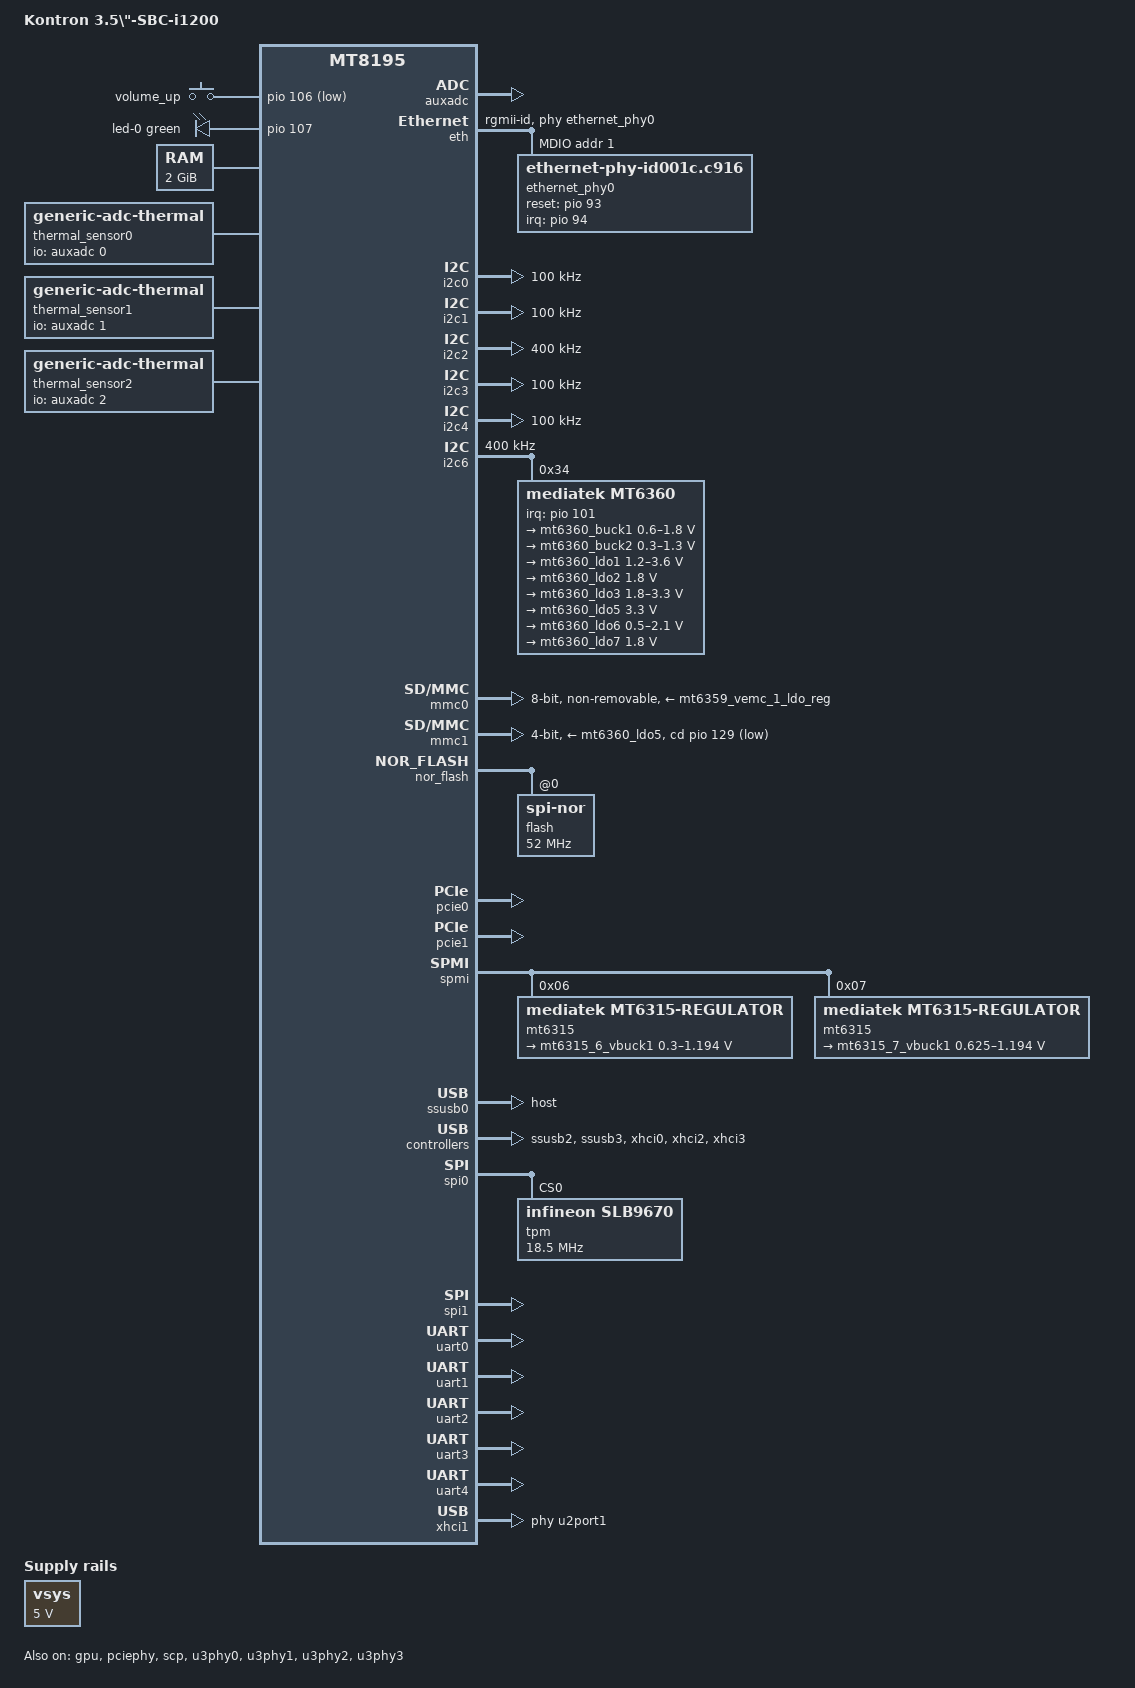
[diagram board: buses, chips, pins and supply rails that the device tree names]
// SPDX-License-Identifier: (GPL-2.0 OR MIT)
/*
 * Copyright (C) 2024 Kontron Europe GmbH
 *
 * Author: Michael Walle <mwalle@kernel.org>
 */
/dts-v1/;

#include "mt8195.dtsi"
#include "mt6359.dtsi"

#include <dt-bindings/gpio/gpio.h>
#include <dt-bindings/input/input.h>
#include <dt-bindings/leds/common.h>
#include <dt-bindings/pinctrl/mt8195-pinfunc.h>
#include <dt-bindings/regulator/mediatek,mt6360-regulator.h>
#include <dt-bindings/spmi/spmi.h>

/ {
	model = "Kontron 3.5\"-SBC-i1200";
	compatible = "kontron,3-5-sbc-i1200", "mediatek,mt8395", "mediatek,mt8195";

	aliases {
		mmc0 = &mmc0;
		mmc1 = &mmc1;
		serial0 = &uart1;
		serial1 = &uart2;
		serial2 = &uart3;
		serial3 = &uart4;
		serial4 = &uart0;
	};

	chosen {
		stdout-path = "serial0:115200n8";
	};

	firmware {
		optee {
			compatible = "linaro,optee-tz";
			method = "smc";
		};
	};

	gpio-keys {
		compatible = "gpio-keys";
		pinctrl-names = "default";
		pinctrl-0 = <&gpio_keys_pins>;

		key-0 {
			gpios = <&pio 106 GPIO_ACTIVE_LOW>;
			label = "volume_up";
			linux,code = <KEY_VOLUMEUP>;
			wakeup-source;
			debounce-interval = <15>;
		};
	};

	leds {
		compatible = "gpio-leds";
		pinctrl-names = "default";
		pinctrl-0 = <&led_pins>;

		led-0 {
			gpios = <&pio 107 GPIO_ACTIVE_HIGH>;
			default-state = "keep";
			function = LED_FUNCTION_POWER;
			color = <LED_COLOR_ID_GREEN>;
		};
	};

	memory@40000000 {
		device_type = "memory";
		reg = <0 0x40000000 0x0 0x80000000>;
	};

	vsys: regulator-vsys {
		compatible = "regulator-fixed";
		regulator-name = "vsys";
		regulator-always-on;
		regulator-boot-on;
		regulator-min-microvolt = <5000000>;
		regulator-max-microvolt = <5000000>;
	};

	reserved-memory {
		#address-cells = <2>;
		#size-cells = <2>;
		ranges;

		/*
		 * 12 MiB reserved for OP-TEE (BL32)
		 * +-----------------------+ 0x43e0_0000
		 * |      SHMEM 2MiB       |
		 * +-----------------------+ 0x43c0_0000
		 * |        | TA_RAM  8MiB |
		 * + TZDRAM +--------------+ 0x4340_0000
		 * |        | TEE_RAM 2MiB |
		 * +-----------------------+ 0x4320_0000
		 */
		optee_reserved: optee@43200000 {
			no-map;
			reg = <0 0x43200000 0 0x00c00000>;
		};

		scp_mem: memory@50000000 {
			compatible = "shared-dma-pool";
			reg = <0 0x50000000 0 0x2900000>;
			no-map;
		};

		vpu_mem: memory@53000000 {
			compatible = "shared-dma-pool";
			reg = <0 0x53000000 0 0x1400000>; /* 20 MB */
		};

		/* 2 MiB reserved for ARM Trusted Firmware (BL31) */
		bl31_secmon_mem: memory@54600000 {
			no-map;
			reg = <0 0x54600000 0x0 0x200000>;
		};

		snd_dma_mem: memory@60000000 {
			compatible = "shared-dma-pool";
			reg = <0 0x60000000 0 0x1100000>;
			no-map;
		};

		apu_mem: memory@62000000 {
			compatible = "shared-dma-pool";
			reg = <0 0x62000000 0 0x1400000>; /* 20 MB */
		};
	};

	thermal_sensor0: thermal-sensor-0 {
		compatible = "generic-adc-thermal";
		#thermal-sensor-cells = <0>;
		io-channels = <&auxadc 0>;
		io-channel-names = "sensor-channel";
		temperature-lookup-table = <(-25000) 1474
					    (-20000) 1374
					    (-15000) 1260
					    (-10000) 1134
					     (-5000) 1004
						   0 874
						5000 750
					       10000 635
					       15000 532
					       20000 443
					       25000 367
					       30000 303
					       35000 250
					       40000 206
					       45000 170
					       50000 141
					       55000 117
					       60000 97
					       65000 81
					       70000 68
					       75000 57
					       80000 48
					       85000 41
					       90000 35
					       95000 30
					      100000 25
					      105000 22
					      110000 19
					      115000 16
					      120000 14
					      125000 12
					      130000 10
					      135000 9
					      140000 8
					      145000 7
					      150000 6>;
	};

	thermal_sensor1: thermal-sensor-1 {
		compatible = "generic-adc-thermal";
		#thermal-sensor-cells = <0>;
		io-channels = <&auxadc 1>;
		io-channel-names = "sensor-channel";
		temperature-lookup-table = <(-25000) 1474
					    (-20000) 1374
					    (-15000) 1260
					    (-10000) 1134
					     (-5000) 1004
						   0 874
						5000 750
					       10000 635
					       15000 532
					       20000 443
					       25000 367
					       30000 303
					       35000 250
					       40000 206
					       45000 170
					       50000 141
					       55000 117
					       60000 97
					       65000 81
					       70000 68
					       75000 57
					       80000 48
					       85000 41
					       90000 35
					       95000 30
					      100000 25
					      105000 22
					      110000 19
					      115000 16
					      120000 14
					      125000 12
					      130000 10
					      135000 9
					      140000 8
					      145000 7
					      150000 6>;
	};

	thermal_sensor2: thermal-sensor-2 {
		compatible = "generic-adc-thermal";
		#thermal-sensor-cells = <0>;
		io-channels = <&auxadc 2>;
		io-channel-names = "sensor-channel";
		temperature-lookup-table = <(-25000) 1474
					    (-20000) 1374
					    (-15000) 1260
					    (-10000) 1134
					     (-5000) 1004
						   0 874
						5000 750
					       10000 635
					       15000 532
					       20000 443
					       25000 367
					       30000 303
					       35000 250
					       40000 206
					       45000 170
					       50000 141
					       55000 117
					       60000 97
					       65000 81
					       70000 68
					       75000 57
					       80000 48
					       85000 41
					       90000 35
					       95000 30
					      100000 25
					      105000 22
					      110000 19
					      115000 16
					      120000 14
					      125000 12
					      130000 10
					      135000 9
					      140000 8
					      145000 7
					      150000 6>;
	};
};

&auxadc {
	status = "okay";
};

&eth {
	phy-mode ="rgmii-id";
	phy-handle = <&ethernet_phy0>;
	pinctrl-names = "default", "sleep";
	pinctrl-0 = <&eth_default_pins>;
	pinctrl-1 = <&eth_sleep_pins>;
	mediatek,mac-wol;
	status = "okay";

	mdio {
		ethernet_phy0: ethernet-phy@1 {
			compatible = "ethernet-phy-id001c.c916";
			reg = <0x1>;
			interrupts-extended = <&pio 94 IRQ_TYPE_LEVEL_LOW>;
			reset-assert-us = <10000>;
			reset-deassert-us = <80000>;
			reset-gpios = <&pio 93 GPIO_ACTIVE_HIGH>;
		};
	};
};

&gpu {
	status = "okay";
	mali-supply = <&mt6315_7_vbuck1>;
};

/* CSI1/CSI2 connector */
&i2c0 {
	pinctrl-names = "default";
	pinctrl-0 = <&i2c0_pins>;
	clock-frequency = <100000>;
	status = "okay";
};

/* CSI3 connector */
&i2c1 {
	pinctrl-names = "default";
	pinctrl-0 = <&i2c1_pins>;
	clock-frequency = <100000>;
	status = "okay";
};

&i2c2 {
	pinctrl-names = "default";
	pinctrl-0 = <&i2c2_pins>;
	clock-frequency = <400000>;
	status = "okay";

	/* LVDS bridge @f */
};

/* Touch panel connector */
&i2c3 {
	pinctrl-names = "default";
	pinctrl-0 = <&i2c3_pins>;
	clock-frequency = <100000>;
	status = "okay";
};

/* B2B connector */
&i2c4 {
	clock-frequency = <100000>;
	pinctrl-0 = <&i2c4_pins>;
	pinctrl-names = "default";
	status = "okay";
};

&i2c6 {
	clock-frequency = <400000>;
	pinctrl-0 = <&i2c6_pins>;
	pinctrl-names = "default";
	status = "okay";

	mt6360: pmic@34 {
		compatible = "mediatek,mt6360";
		reg = <0x34>;
		interrupt-controller;
		interrupts-extended = <&pio 101 IRQ_TYPE_EDGE_FALLING>;
		interrupt-names = "IRQB";
		#interrupt-cells = <1>;

		regulator {
			compatible = "mediatek,mt6360-regulator";
			LDO_VIN1-supply = <&vsys>;
			LDO_VIN2-supply = <&vsys>;
			LDO_VIN3-supply = <&vsys>;

			mt6360_buck1: buck1 {
				regulator-name = "emi_vdd2";
				regulator-min-microvolt = <600000>;
				regulator-max-microvolt = <1800000>;
				regulator-allowed-modes = <MT6360_OPMODE_NORMAL
							   MT6360_OPMODE_LP
							   MT6360_OPMODE_ULP>;
				regulator-always-on;
			};

			mt6360_buck2: buck2 {
				regulator-name = "emi_vddq";
				regulator-min-microvolt = <300000>;
				regulator-max-microvolt = <1300000>;
				regulator-allowed-modes = <MT6360_OPMODE_NORMAL
							   MT6360_OPMODE_LP
							   MT6360_OPMODE_ULP>;
				regulator-always-on;
			};

			mt6360_ldo1: ldo1 {
				regulator-name = "mt6360_ldo1"; /* Test point */
				regulator-min-microvolt = <1200000>;
				regulator-max-microvolt = <3600000>;
				regulator-allowed-modes = <MT6360_OPMODE_NORMAL
							   MT6360_OPMODE_LP>;
			};

			mt6360_ldo2: ldo2 {
				regulator-name = "panel1_p1v8";
				regulator-min-microvolt = <1800000>;
				regulator-max-microvolt = <1800000>;
				regulator-allowed-modes = <MT6360_OPMODE_NORMAL
							   MT6360_OPMODE_LP>;
			};

			mt6360_ldo3: ldo3 {
				regulator-name = "vmc_pmu";
				regulator-min-microvolt = <1800000>;
				regulator-max-microvolt = <3300000>;
				regulator-allowed-modes = <MT6360_OPMODE_NORMAL
							   MT6360_OPMODE_LP>;
			};

			mt6360_ldo5: ldo5 {
				regulator-name = "vmch_pmu";
				regulator-min-microvolt = <3300000>;
				regulator-max-microvolt = <3300000>;
				regulator-allowed-modes = <MT6360_OPMODE_NORMAL
							   MT6360_OPMODE_LP>;
			};

			mt6360_ldo6: ldo6 {
				regulator-name = "mt6360_ldo6"; /* Test point */
				regulator-min-microvolt = <500000>;
				regulator-max-microvolt = <2100000>;
				regulator-allowed-modes = <MT6360_OPMODE_NORMAL
							   MT6360_OPMODE_LP>;
			};

			mt6360_ldo7: ldo7 {
				regulator-name = "emi_vmddr_en";
				regulator-min-microvolt = <1800000>;
				regulator-max-microvolt = <1800000>;
				regulator-allowed-modes = <MT6360_OPMODE_NORMAL
							   MT6360_OPMODE_LP>;
				regulator-always-on;
			};
		};
	};
};

&mmc0 {
	pinctrl-names = "default", "state_uhs";
	pinctrl-0 = <&mmc0_default_pins>;
	pinctrl-1 = <&mmc0_uhs_pins>;
	bus-width = <8>;
	max-frequency = <200000000>;
	hs400-ds-delay = <0x14c11>;
	cap-mmc-highspeed;
	cap-mmc-hw-reset;
	mmc-hs200-1_8v;
	mmc-hs400-1_8v;
	no-sdio;
	no-sd;
	non-removable;
	vmmc-supply = <&mt6359_vemc_1_ldo_reg>;
	vqmmc-supply = <&mt6359_vufs_ldo_reg>;
	status = "okay";
};

&mmc1 {
	pinctrl-names = "default", "state_uhs";
	pinctrl-0 = <&mmc1_default_pins>, <&mmc1_detect_pins>;
	pinctrl-1 = <&mmc1_default_pins>;
	cd-gpios = <&pio 129 GPIO_ACTIVE_LOW>;
	bus-width = <4>;
	max-frequency = <200000000>;
	cap-sd-highspeed;
	sd-uhs-sdr50;
	sd-uhs-sdr104;
	no-mmc;
	vmmc-supply = <&mt6360_ldo5>;
	vqmmc-supply = <&mt6360_ldo3>;
	status = "okay";
};

&mt6359_vbbck_ldo_reg {
	regulator-always-on;
};

&mt6359_vcore_buck_reg {
	regulator-always-on;
};

&mt6359_vgpu11_buck_reg {
	regulator-always-on;
};

&mt6359_vproc1_buck_reg {
	regulator-always-on;
};

&mt6359_vproc2_buck_reg {
	regulator-always-on;
};

&mt6359_vpu_buck_reg {
	regulator-always-on;
};

&mt6359_vrf12_ldo_reg {
	regulator-always-on;
};

&mt6359_vsram_md_ldo_reg {
	regulator-always-on;
};

&mt6359_vsram_others_ldo_reg {
	regulator-always-on;
};

&nor_flash {
	pinctrl-names = "default";
	pinctrl-0 = <&nor_pins_default>;
	status = "okay";

	flash@0 {
		compatible = "jedec,spi-nor";
		reg = <0>;
		spi-max-frequency = <52000000>;
		spi-rx-bus-width = <2>;
		spi-tx-bus-width = <2>;
	};
};

&pcie0 {
	pinctrl-names = "default";
	pinctrl-0 = <&pcie0_pins_default>;
	status = "okay";
};

&pcie1 {
	pinctrl-names = "default";
	pinctrl-0 = <&pcie1_pins_default>;
	status = "okay";
};

&pciephy {
	status = "okay";
};

&pio {
	eth_default_pins: eth-default-pins {
		pins-txd {
			pinmux = <PINMUX_GPIO77__FUNC_GBE_TXD3>,
				 <PINMUX_GPIO78__FUNC_GBE_TXD2>,
				 <PINMUX_GPIO79__FUNC_GBE_TXD1>,
				 <PINMUX_GPIO80__FUNC_GBE_TXD0>;
			drive-strength = <8>;
		};

		pins-rxd {
			pinmux = <PINMUX_GPIO81__FUNC_GBE_RXD3>,
				 <PINMUX_GPIO82__FUNC_GBE_RXD2>,
				 <PINMUX_GPIO83__FUNC_GBE_RXD1>,
				 <PINMUX_GPIO84__FUNC_GBE_RXD0>;
		};

		pins-cc {
			pinmux = <PINMUX_GPIO85__FUNC_GBE_TXC>,
				 <PINMUX_GPIO86__FUNC_GBE_RXC>,
				 <PINMUX_GPIO87__FUNC_GBE_RXDV>,
				 <PINMUX_GPIO88__FUNC_GBE_TXEN>;
			drive-strength = <8>;
		};

		pins-mdio {
			pinmux = <PINMUX_GPIO89__FUNC_GBE_MDC>,
				 <PINMUX_GPIO90__FUNC_GBE_MDIO>;
			input-enable;
		};

		pins-power {
			pinmux = <PINMUX_GPIO91__FUNC_GPIO91>,
				 <PINMUX_GPIO92__FUNC_GPIO92>;
			output-high;
		};

		pins-reset {
			pinmux = <PINMUX_GPIO93__FUNC_GPIO93>;
			output-high;
		};

		pins-interrupt {
			pinmux = <PINMUX_GPIO94__FUNC_GPIO94>;
			input-enable;
		};
	};

	eth_sleep_pins: eth-sleep-pins {
		pins-txd {
			pinmux = <PINMUX_GPIO77__FUNC_GPIO77>,
				 <PINMUX_GPIO78__FUNC_GPIO78>,
				 <PINMUX_GPIO79__FUNC_GPIO79>,
				 <PINMUX_GPIO80__FUNC_GPIO80>;
		};

		pins-cc {
			pinmux = <PINMUX_GPIO85__FUNC_GPIO85>,
				 <PINMUX_GPIO88__FUNC_GPIO88>,
				 <PINMUX_GPIO87__FUNC_GPIO87>,
				 <PINMUX_GPIO86__FUNC_GPIO86>;
		};

		pins-rxd {
			pinmux = <PINMUX_GPIO81__FUNC_GPIO81>,
				 <PINMUX_GPIO82__FUNC_GPIO82>,
				 <PINMUX_GPIO83__FUNC_GPIO83>,
				 <PINMUX_GPIO84__FUNC_GPIO84>;
		};

		pins-mdio {
			pinmux = <PINMUX_GPIO89__FUNC_GPIO89>,
				 <PINMUX_GPIO90__FUNC_GPIO90>;
			input-disable;
			bias-disable;
		};
	};

	gpio_keys_pins: gpio-keys-pins {
		pins {
			pinmux = <PINMUX_GPIO106__FUNC_GPIO106>;
			input-enable;
		};
	};

	i2c0_pins: i2c0-pins {
		pins {
			pinmux = <PINMUX_GPIO8__FUNC_SDA0>,
				 <PINMUX_GPIO9__FUNC_SCL0>;
			bias-pull-up = <MTK_PULL_SET_RSEL_111>;
			drive-strength-microamp = <1000>;
		};
	};

	i2c1_pins: i2c1-pins {
		pins {
			pinmux = <PINMUX_GPIO10__FUNC_SDA1>,
				 <PINMUX_GPIO11__FUNC_SCL1>;
			bias-pull-up = <MTK_PULL_SET_RSEL_111>;
			drive-strength-microamp = <1000>;
		};
	};

	i2c2_pins: i2c2-default-pins {
		pins-bus {
			pinmux = <PINMUX_GPIO12__FUNC_SDA2>,
				 <PINMUX_GPIO13__FUNC_SCL2>;
			bias-pull-up = <MTK_PULL_SET_RSEL_111>;
			drive-strength-microamp = <1000>;
		};
	};

	i2c3_pins: i2c3-pins {
		pins {
			pinmux = <PINMUX_GPIO14__FUNC_SDA3>,
				 <PINMUX_GPIO15__FUNC_SCL3>;
			bias-pull-up = <MTK_PULL_SET_RSEL_111>;
			drive-strength-microamp = <1000>;
		};
	};

	i2c4_pins: i2c4-pins {
		pins {
			pinmux = <PINMUX_GPIO16__FUNC_SDA4>,
				 <PINMUX_GPIO17__FUNC_SCL4>;
			bias-pull-up = <MTK_PULL_SET_RSEL_111>;
			drive-strength-microamp = <1000>;
		};
	};

	i2c6_pins: i2c6-pins {
		pins {
			pinmux = <PINMUX_GPIO25__FUNC_SDA6>,
				 <PINMUX_GPIO26__FUNC_SCL6>;
			bias-pull-up;
			drive-strength-microamp = <1000>;
		};
	};

	mmc0_default_pins: mmc0-default-pins {
		pins-clk {
			pinmux = <PINMUX_GPIO122__FUNC_MSDC0_CLK>;
			drive-strength = <6>;
			bias-pull-down = <MTK_PUPD_SET_R1R0_10>;
		};

		pins-cmd-dat {
			pinmux = <PINMUX_GPIO126__FUNC_MSDC0_DAT0>,
				 <PINMUX_GPIO125__FUNC_MSDC0_DAT1>,
				 <PINMUX_GPIO124__FUNC_MSDC0_DAT2>,
				 <PINMUX_GPIO123__FUNC_MSDC0_DAT3>,
				 <PINMUX_GPIO119__FUNC_MSDC0_DAT4>,
				 <PINMUX_GPIO118__FUNC_MSDC0_DAT5>,
				 <PINMUX_GPIO117__FUNC_MSDC0_DAT6>,
				 <PINMUX_GPIO116__FUNC_MSDC0_DAT7>,
				 <PINMUX_GPIO121__FUNC_MSDC0_CMD>;
			input-enable;
			drive-strength = <6>;
			bias-pull-up = <MTK_PUPD_SET_R1R0_01>;
		};

		pins-rst {
			pinmux = <PINMUX_GPIO120__FUNC_MSDC0_RSTB>;
			drive-strength = <6>;
			bias-pull-up = <MTK_PUPD_SET_R1R0_01>;
		};
	};

	mmc0_uhs_pins: mmc0-uhs-pins {
		pins-clk {
			pinmux = <PINMUX_GPIO122__FUNC_MSDC0_CLK>;
			drive-strength = <8>;
			bias-pull-down = <MTK_PUPD_SET_R1R0_10>;
		};

		pins-cmd-dat {
			pinmux = <PINMUX_GPIO126__FUNC_MSDC0_DAT0>,
				 <PINMUX_GPIO125__FUNC_MSDC0_DAT1>,
				 <PINMUX_GPIO124__FUNC_MSDC0_DAT2>,
				 <PINMUX_GPIO123__FUNC_MSDC0_DAT3>,
				 <PINMUX_GPIO119__FUNC_MSDC0_DAT4>,
				 <PINMUX_GPIO118__FUNC_MSDC0_DAT5>,
				 <PINMUX_GPIO117__FUNC_MSDC0_DAT6>,
				 <PINMUX_GPIO116__FUNC_MSDC0_DAT7>,
				 <PINMUX_GPIO121__FUNC_MSDC0_CMD>;
			input-enable;
			drive-strength = <8>;
			bias-pull-up = <MTK_PUPD_SET_R1R0_01>;
		};

		pins-ds {
			pinmux = <PINMUX_GPIO127__FUNC_MSDC0_DSL>;
			drive-strength = <8>;
			bias-pull-down = <MTK_PUPD_SET_R1R0_10>;
		};

		pins-rst {
			pinmux = <PINMUX_GPIO120__FUNC_MSDC0_RSTB>;
			drive-strength = <8>;
			bias-pull-up = <MTK_PUPD_SET_R1R0_01>;
		};
	};

	mmc1_default_pins: mmc1-default-pins {
		pins-clk {
			pinmux = <PINMUX_GPIO111__FUNC_MSDC1_CLK>;
			drive-strength = <8>;
			bias-pull-down = <MTK_PUPD_SET_R1R0_10>;
		};

		pins-cmd-dat {
			pinmux = <PINMUX_GPIO110__FUNC_MSDC1_CMD>,
				 <PINMUX_GPIO112__FUNC_MSDC1_DAT0>,
				 <PINMUX_GPIO113__FUNC_MSDC1_DAT1>,
				 <PINMUX_GPIO114__FUNC_MSDC1_DAT2>,
				 <PINMUX_GPIO115__FUNC_MSDC1_DAT3>;
			input-enable;
			drive-strength = <8>;
			bias-pull-up = <MTK_PUPD_SET_R1R0_01>;
		};
	};

	mmc1_detect_pins: mmc1-detect-pins {
		pins-insert {
			pinmux = <PINMUX_GPIO129__FUNC_GPIO129>;
			bias-pull-up;
		};
	};

	nor_pins_default: nor-default-pins {
		pins-ck-io {
			pinmux = <PINMUX_GPIO142__FUNC_SPINOR_IO0>,
				 <PINMUX_GPIO141__FUNC_SPINOR_CK>,
				 <PINMUX_GPIO143__FUNC_SPINOR_IO1>;
			drive-strength = <6>;
			bias-pull-down;
		};

		pins-cs {
			pinmux = <PINMUX_GPIO140__FUNC_SPINOR_CS>;
			drive-strength = <6>;
			bias-pull-up;
		};
	};

	pcie0_pins_default: pcie0-default-pins {
		pins-bus {
			pinmux = <PINMUX_GPIO19__FUNC_WAKEN>,
				 <PINMUX_GPIO20__FUNC_PERSTN>,
				 <PINMUX_GPIO21__FUNC_CLKREQN>;
			bias-pull-up;
		};
	};

	pcie1_pins_default: pcie1-default-pins {
		pins-bus {
			pinmux = <PINMUX_GPIO0__FUNC_PERSTN_1>,
				 <PINMUX_GPIO1__FUNC_CLKREQN_1>,
				 <PINMUX_GPIO2__FUNC_WAKEN_1>;
			bias-pull-up = <MTK_PUPD_SET_R1R0_01>;
		};
	};

	led_pins: led-pins {
		pins-power-en {
			pinmux = <PINMUX_GPIO107__FUNC_GPIO107>;
			output-high;
		};
	};

	spi0_pins: spi0-default-pins {
		pins-cs-mosi-clk {
			pinmux = <PINMUX_GPIO132__FUNC_SPIM0_CSB>,
				 <PINMUX_GPIO134__FUNC_SPIM0_MO>,
				 <PINMUX_GPIO133__FUNC_SPIM0_CLK>;
			bias-disable;
		};

		pins-miso {
			pinmux = <PINMUX_GPIO135__FUNC_SPIM0_MI>;
			bias-pull-down;
		};
	};

	spi1_pins: spi1-default-pins {
		pins-cs-mosi-clk {
			pinmux = <PINMUX_GPIO136__FUNC_SPIM1_CSB>,
				 <PINMUX_GPIO138__FUNC_SPIM1_MO>,
				 <PINMUX_GPIO137__FUNC_SPIM1_CLK>;
			bias-disable;
		};

		pins-miso {
			pinmux = <PINMUX_GPIO139__FUNC_SPIM1_MI>;
			bias-pull-down;
		};
	};

	uart0_pins: uart0-pins {
		pins-rx {
			pinmux = <PINMUX_GPIO99__FUNC_URXD0>;
			input-enable;
			bias-pull-up;
		};

		pins-tx {
			pinmux = <PINMUX_GPIO98__FUNC_UTXD0>;
		};
	};

	uart1_pins: uart1-pins {
		pins-rx {
			pinmux = <PINMUX_GPIO103__FUNC_URXD1>;
			input-enable;
			bias-pull-up;
		};

		pins-tx {
			pinmux = <PINMUX_GPIO102__FUNC_UTXD1>;
		};

		pins-rts {
			pinmux = <PINMUX_GPIO100__FUNC_URTS1>;
		};

		pins-cts {
			pinmux = <PINMUX_GPIO101__FUNC_UCTS1>;
			input-enable;
		};
	};

	uart2_pins: uart2-pins {
		pins-rx {
			pinmux = <PINMUX_GPIO68__FUNC_URXD2>;
			input-enable;
			bias-pull-up;
		};

		pins-tx {
			pinmux = <PINMUX_GPIO67__FUNC_UTXD2>;
		};

		pins-rts {
			pinmux = <PINMUX_GPIO66__FUNC_URTS2>;
		};

		pins-cts {
			pinmux = <PINMUX_GPIO65__FUNC_UCTS2>;
			input-enable;
		};
	};

	uart3_pins: uart3-pins {
		pins-rx {
			pinmux = <PINMUX_GPIO5__FUNC_URXD3>;
			input-enable;
			bias-pull-up = <MTK_PUPD_SET_R1R0_01>;
		};

		pins-tx {
			pinmux = <PINMUX_GPIO4__FUNC_UTXD3>;
		};
	};

	uart4_pins: uart4-pins {
		pins-rx {
			pinmux = <PINMUX_GPIO7__FUNC_URXD4>;
			input-enable;
			bias-pull-up;
		};

		pins-tx {
			pinmux = <PINMUX_GPIO6__FUNC_UTXD4>;
		};
	};
};

&pmic {
	interrupts-extended = <&pio 222 IRQ_TYPE_LEVEL_HIGH>;
};

&scp {
	memory-region = <&scp_mem>;
	firmware-name = "mediatek/mt8195/scp.img";
	status = "okay";
};

&spmi {
	#address-cells = <2>;
	#size-cells = <0>;

	mt6315@6 {
		compatible = "mediatek,mt6315-regulator";
		reg = <0x6 SPMI_USID>;

		regulators {
			mt6315_6_vbuck1: vbuck1 {
				regulator-name = "Vbcpu";
				regulator-min-microvolt = <300000>;
				regulator-max-microvolt = <1193750>;
				regulator-enable-ramp-delay = <256>;
				regulator-ramp-delay = <6250>;
				regulator-allowed-modes = <0 1 2>;
				regulator-always-on;
			};
		};
	};

	mt6315@7 {
		compatible = "mediatek,mt6315-regulator";
		reg = <0x7 SPMI_USID>;

		regulators {
			mt6315_7_vbuck1: vbuck1 {
				regulator-name = "Vgpu";
				regulator-min-microvolt = <625000>;
				regulator-max-microvolt = <1193750>;
				regulator-enable-ramp-delay = <256>;
				regulator-ramp-delay = <6250>;
				regulator-allowed-modes = <0 1 2>;
				regulator-always-on;
			};
		};
	};
};

/* USB3.2 front port */
&ssusb0 {
	dr_mode = "host";
	vusb33-supply = <&mt6359_vusb_ldo_reg>;
	status = "okay";
};

/* USB2.0 M.2 Key-E */
&ssusb2 {
	vusb33-supply = <&mt6359_vusb_ldo_reg>;
	status = "okay";
};

/* USB2.0 to on-board usb hub */
&ssusb3 {
	vusb33-supply = <&mt6359_vusb_ldo_reg>;
	status = "okay";
};

&spi0 {
	pinctrl-names = "default";
	pinctrl-0 = <&spi0_pins>;
	mediatek,pad-select = <0>;
	status = "okay";

	tpm: tpm@0 {
		compatible = "infineon,slb9670", "tcg,tpm_tis-spi";
		reg = <0>;
		spi-max-frequency = <18500000>;
	};
};

/* B2B connector */
&spi1 {
	pinctrl-names = "default";
	pinctrl-0 = <&spi1_pins>;
	mediatek,pad-select = <0>;
	status = "okay";
};

&thermal_zones {
	cpu-thermal {
		polling-delay = <1000>; /* milliseconds */
		polling-delay-passive = <0>; /* milliseconds */
		thermal-sensors = <&thermal_sensor0>;

		trips {
			trip-alert {
				temperature = <85000>;
				hysteresis = <2000>;
				type = "passive";
			};

			trip-crit {
				temperature = <95000>;
				hysteresis = <2000>;
				type = "critical";
			};
		};
	};

	pcb-top-thermal {
		polling-delay = <1000>; /* milliseconds */
		polling-delay-passive = <0>; /* milliseconds */
		thermal-sensors = <&thermal_sensor1>;

		trips {
			trip-alert {
				temperature = <75000>;
				hysteresis = <2000>;
				type = "passive";
			};

			trip-crit {
				temperature = <85000>;
				hysteresis = <2000>;
				type = "critical";
			};
		};
	};

	pcb-bottom-thermal {
		polling-delay = <1000>; /* milliseconds */
		polling-delay-passive = <0>; /* milliseconds */
		thermal-sensors = <&thermal_sensor2>;

		trips {
			trip-alert {
				temperature = <75000>;
				hysteresis = <2000>;
				type = "passive";
			};

			trip-crit {
				temperature = <85000>;
				hysteresis = <2000>;
				type = "critical";
			};
		};
	};
};

&uart0 {
	pinctrl-names = "default";
	pinctrl-0 = <&uart0_pins>;
	status = "okay";
};

&uart1 {
	pinctrl-names = "default";
	pinctrl-0 = <&uart1_pins>;
	uart-has-rtscts;
	status = "okay";
};

&uart2 {
	pinctrl-names = "default";
	pinctrl-0 = <&uart2_pins>;
	uart-has-rtscts;
	status = "okay";
};

&uart3 {
	pinctrl-names = "default";
	pinctrl-0 = <&uart3_pins>;
	status = "okay";
};

&uart4 {
	pinctrl-names = "default";
	pinctrl-0 = <&uart4_pins>;
	status = "okay";
};

/* USB3 */
&u3phy0 {
	status = "okay";
};

/* PCIe1/USB2 */
&u3phy1 {
	status = "okay";
};

/* USB2 */
&u3phy2 {
	status = "okay";
};

/* USB2 */
&u3phy3 {
	status = "okay";
};

/* USB3.2 front port */
&xhci0 {
	status = "okay";
};

/* USB2.0 M.2 Key-B */
&xhci1 {
	phys = <&u2port1 PHY_TYPE_USB2>;
	vusb33-supply = <&mt6359_vusb_ldo_reg>;
	mediatek,u3p-dis-msk = <0x01>;
	status = "okay";
};

/* USB2.0 M.2 Key-E */
&xhci2 {
	status = "okay";
};

/* USB2.0 to on-board usb hub */
&xhci3 {
	status = "okay";
};
